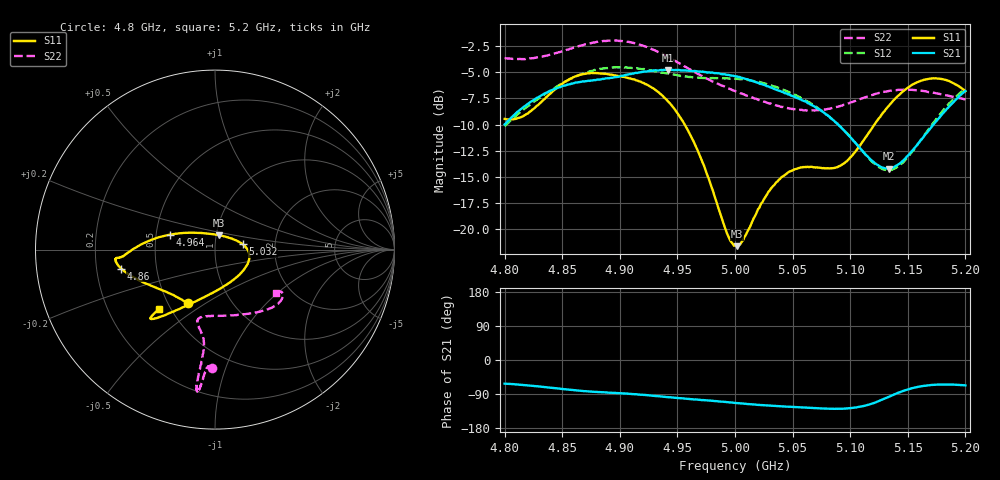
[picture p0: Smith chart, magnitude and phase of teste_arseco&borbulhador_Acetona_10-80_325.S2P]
! Network Analyzer HP8722D
! Hewlett-Packard
! Data name: Linha & Wilkinson
! Saver's name: Rodrigo Anjos
! Comments: Teste da utilização de aquisição
! continua pelo VNA HP8722D
! Time and date: 17/4/2025 17:04
!  Frequency  S11  S21  S12  S22
# HZ  S  MA R 50
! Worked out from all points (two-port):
!   401 points, 4.8 GHz to 5.2 GHz, reference 50 ohm
!   highest |S21| = -4.76 dB at 4.942 GHz (marker M1); lowest = -14.2 dB at 5.134 GHz (marker M2)
!   |S21| within 3 dB of the highest: 4.824 GHz to 5.06 GHz (236.6 MHz wide, 4.79 % of centre); 5.19041 GHz to end of sweep
!   lowest |S11| = -21.6 dB at 5.002 GHz (marker M3), VSWR 1.18, Z = 51.4 + j8.31 ohm
!   |S11| at or under -10 dB: 4.956 GHz to 5.121 GHz (164.8 MHz wide, 3.27 % of centre)
!   |S22| runs from -8.7 to -2.0 dB; largest |S21 - S12| = 0.87
!   S11 on the Smith chart (normalised r, x): 4.8 GHz: 0.63, -0.42; 4.86 GHz: 0.31, -0.09; 4.964 GHz: 0.59, +0.11; 5.032 GHz: 1.36, +0.08; 5.2 GHz: 0.43, -0.36
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4.8e9  0.3365 -117.0  0.3166 -62.5  0.3103 -176.7  0.6583 -91.5
4.818e9  0.352 -136.2  0.3889 -66.4  0.3794 -176.4  0.6505 -93.1
4.86e9  0.5339 -168.6  0.4984 -79.3  0.5319 -179.8  0.7374 -95.5
4.867e9  0.549 -171.3  0.5071 -81.6  0.5514 179.1  0.757 -95.9
4.898e9  0.5408 -175.2  0.5351 -87.2  0.5935 173.0  0.7971 -97.1
4.934e9  0.45 179.1  0.5739 -95.9  0.5659 169.8  0.7 -97.5
4.942e9  0.407 175.5  0.5778 -98.1  0.5551 170.0  0.664 -97.2
4.964e9  0.2628 161.4  0.5694 -103.8  0.5309 171.9  0.568 -96.5
4.975e9  0.1878 150.3  0.5633 -106.5  0.5279 172.9  0.5262 -96.7
4.993e9  0.09554 111.8  0.5473 -111.1  0.5262 174.0  0.4742 -99.0
5e9  0.08332 84.6  0.5388 -113.1  0.5245 174.0  0.4577 -100.2
5.002e9  0.08281 75.9  0.5364 -113.8  0.5224 174.0  0.4538 -100.7
5.032e9  0.158 10.6  0.4741 -120.8  0.4859 172.8  0.3955 -103.5
5.048e9  0.189 -4.6  0.4372 -123.4  0.4496 172.2  0.3771 -99.2
5.067e9  0.1982 -24.9  0.3913 -126.6  0.3959 172.0  0.3698 -88.1
5.095e9  0.2068 -73.3  0.2948 -128.4  0.2957 174.5  0.3932 -66.4
5.12e9  0.3109 -110.9  0.2101 -114.1  0.2075 -169.2  0.4387 -49.9
5.134e9  0.3916 -121.6  0.1948 -96.6  0.1917 -149.7  0.4585 -43.3
5.146e9  0.4564 -127.2  0.2125 -81.6  0.2085 -132.2  0.4644 -38.9
5.168e9  0.5233 -132.3  0.2954 -66.9  0.3 -113.2  0.4521 -33.4
5.184e9  0.5144 -133.5  0.3766 -64.7  0.3877 -109.0  0.4355 -32.4
5.2e9  0.4566 -133.4  0.4578 -67.1  0.4693 -109.3  0.4169 -35.1
